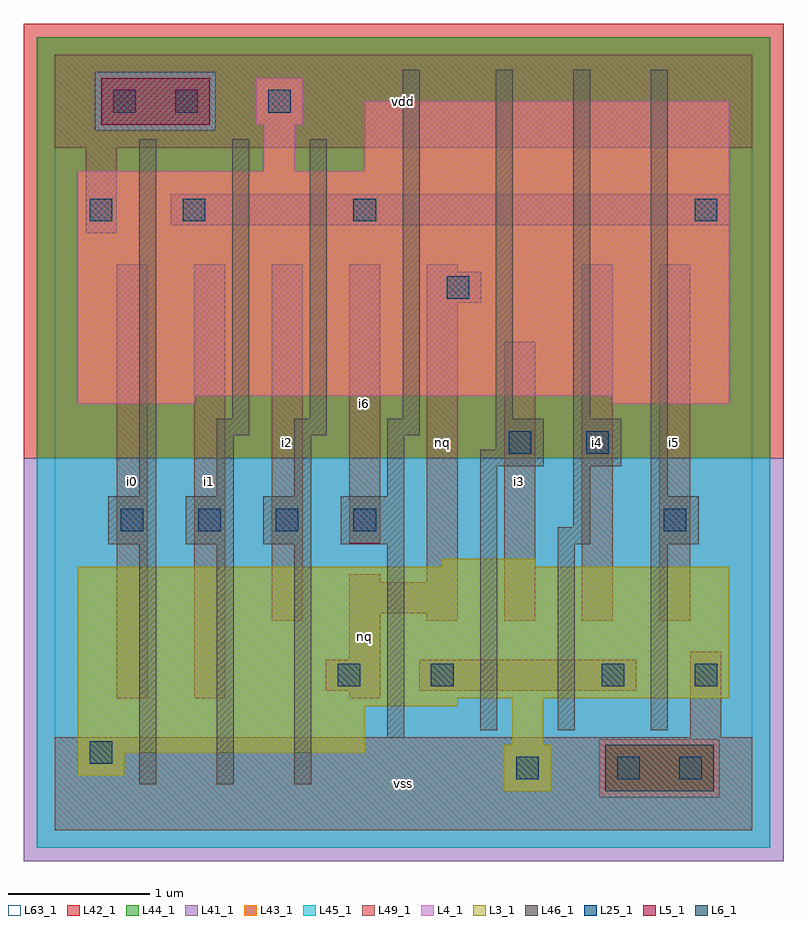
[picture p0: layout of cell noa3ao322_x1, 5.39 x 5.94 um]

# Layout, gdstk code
import gdstk
lib = gdstk.Library(unit=1e-6, precision=1e-09)
def R(c, l, rs):  # rectangles x0, y0, x1, y1
    for r in rs: c.add(gdstk.rectangle(r[:2], r[2:], *l))
def A(c, l, x, y, w, h, nx, ny, dx, dy):  # array of equal rectangles
    R(c, l, [(x+i*dx, y+j*dy, x+i*dx+w, y+j*dy+h) for i in range(nx) for j in range(ny)])
L3_1 = (3, 1)
L4_1 = (4, 1)
L5_1 = (5, 1)
L6_1 = (6, 1)
L25_1 = (25, 1)
L41_1 = (41, 1)
L42_1 = (42, 1)
L43_1 = (43, 1)
L44_1 = (44, 1)
L45_1 = (45, 1)
L46_1 = (46, 1)
L49_1 = (49, 1)
L63_1 = (63, 1)

noa3ao322_x1 = lib.new_cell('noa3ao322_x1')
R(noa3ao322_x1, L3_1, [(3.19,0.275,3.52,0.605), (0.165,0.385,0.495,0.55), (0.165,0.55,2.2,0.88), (3.245,0.605,3.465,0.935), (0.165,0.88,2.86,0.935), (0.165,0.935,4.785,1.87), (2.75,1.87,3.41,1.925)])
R(noa3ao322_x1, L4_1, [(0.165,3.025,0.99,3.08), (3.96,3.025,4.785,3.08), (0.165,3.08,4.785,4.675), (1.485,4.675,1.705,5.005), (2.2,4.675,4.785,5.17), (1.43,5.005,1.76,5.335)])
R(noa3ao322_x1, L5_1, [(0.33,5.005,1.1,5.335)])
R(noa3ao322_x1, L6_1, [(3.905,0.275,4.675,0.605)])
A(noa3ao322_x1, L25_1, 0.47, 2.12, 0.16, 0.16, 4, 1, 0.55, 0)
R(noa3ao322_x1, L25_1, [(3.275,0.36,3.435,0.52), (3.99,0.36,4.15,0.52), (4.43,0.36,4.59,0.52), (0.25,0.47,0.41,0.63), (2.01,1.02,2.17,1.18), (2.67,1.02,2.83,1.18), (3.88,1.02,4.04,1.18), (4.54,1.02,4.7,1.18), (4.32,2.12,4.48,2.28), (3.22,2.67,3.38,2.83), (3.77,2.67,3.93,2.83), (2.78,3.77,2.94,3.93), (0.25,4.32,0.41,4.48), (0.91,4.32,1.07,4.48), (2.12,4.32,2.28,4.48), (4.54,4.32,4.7,4.48), (0.415,5.09,0.575,5.25), (0.855,5.09,1.015,5.25), (1.515,5.09,1.675,5.25)])
R(noa3ao322_x1, L41_1, [(-0.22,-0.22,5.17,2.64)])
R(noa3ao322_x1, L42_1, [(-0.22,2.64,5.17,5.72)])
R(noa3ao322_x1, L43_1, [(3.19,0.275,3.52,0.605), (3.905,0.275,4.675,0.605), (0.165,0.385,0.495,0.55), (0.165,0.55,2.2,0.88), (3.245,0.605,3.465,0.935), (0.165,0.88,2.86,0.935), (0.165,0.935,4.785,1.87), (2.75,1.87,3.41,1.925), (0.165,3.025,0.99,3.08), (3.96,3.025,4.785,3.08), (0.165,3.08,4.785,4.675), (1.485,4.675,1.705,5.005), (2.2,4.675,4.785,5.17), (0.33,5.005,1.1,5.335), (1.43,5.005,1.76,5.335)])
R(noa3ao322_x1, L44_1, [(3.865,0.235,4.715,0.645), (-0.125,2.64,5.075,4.965), (-0.125,4.965,0.29,5.375), (1.14,4.965,5.075,5.375), (-0.125,5.375,5.075,5.625)])
R(noa3ao322_x1, L45_1, [(-0.125,-0.125,5.075,0.235), (-0.125,0.235,3.865,0.645), (4.715,0.235,5.075,0.645), (-0.125,0.645,5.075,2.64), (0.29,4.965,1.14,5.375)])
A(noa3ao322_x1, L46_1, 0.6, 0.325, 0.12, 1.705, 3, 1, 0.55, 0)
A(noa3ao322_x1, L46_1, 0.38, 2.03, 0.34, 0.34, 3, 1, 0.55, 0)
R(noa3ao322_x1, L46_1, [(2.36,0.655,2.48,2.03), (3.02,0.71,3.14,2.58), (3.57,0.71,3.69,2.03), (4.23,0.71,4.35,2.03), (2.03,2.03,2.48,2.37), (3.57,2.03,3.8,2.15), (4.23,2.03,4.57,2.37), (3.68,2.15,3.8,2.58), (0.6,2.37,0.72,4.9), (1.15,2.37,1.27,2.8), (1.7,2.37,1.82,2.8), (2.36,2.37,2.48,2.8), (4.23,2.37,4.35,5.395), (3.02,2.58,3.47,2.7), (3.68,2.58,4.02,2.92), (3.13,2.7,3.47,2.92), (1.15,2.8,1.38,2.92), (1.7,2.8,1.93,2.92), (2.36,2.8,2.59,2.92), (1.26,2.92,1.38,4.9), (1.81,2.92,1.93,4.9), (2.47,2.92,2.59,5.395), (3.13,2.92,3.25,5.395), (3.68,2.92,3.8,5.395)])
R(noa3ao322_x1, L49_1, [(0,0,4.95,0.66), (4.51,0.66,4.73,1.265), (0.44,0.935,0.66,4.015), (0.99,0.935,1.21,4.015), (2.09,0.935,2.31,0.99), (1.925,0.99,2.31,1.21), (2.585,0.99,4.125,1.21), (2.09,1.21,2.31,1.54), (1.54,1.485,1.76,4.015), (2.64,1.485,2.86,1.54), (3.19,1.485,3.41,3.465), (3.74,1.485,3.96,4.015), (4.29,1.485,4.51,4.015), (2.09,1.54,2.86,1.76), (2.09,1.76,2.31,1.815), (2.64,1.76,2.86,3.74), (2.09,2.035,2.31,4.015), (2.64,3.74,3.025,3.96), (2.64,3.96,2.86,4.015), (0.22,4.235,0.44,4.84), (0.825,4.29,4.785,4.51), (0,4.84,4.95,5.5)])
R(noa3ao322_x1, L63_1, [(0,0,4.95,5.5)])
noa3ao322_x1.add(gdstk.Label('i0', (0.55,2.475), layer=49, texttype=1))
noa3ao322_x1.add(gdstk.Label('nq', (2.2,1.375), layer=49, texttype=1))
noa3ao322_x1.add(gdstk.Label('i1', (1.1,2.475), layer=49, texttype=1))
noa3ao322_x1.add(gdstk.Label('i2', (1.65,2.75), layer=49, texttype=1))
noa3ao322_x1.add(gdstk.Label('i6', (2.2,3.025), layer=49, texttype=1))
noa3ao322_x1.add(gdstk.Label('vss', (2.475,0.33), layer=49, texttype=1))
noa3ao322_x1.add(gdstk.Label('i3', (3.3,2.475), layer=49, texttype=1))
noa3ao322_x1.add(gdstk.Label('nq', (2.75,2.75), layer=49, texttype=1))
noa3ao322_x1.add(gdstk.Label('vdd', (2.475,5.17), layer=49, texttype=1))
noa3ao322_x1.add(gdstk.Label('i5', (4.4,2.75), layer=49, texttype=1))
noa3ao322_x1.add(gdstk.Label('i4', (3.85,2.75), layer=49, texttype=1))

lib.write_gds('noa3ao322_x1.gds')
